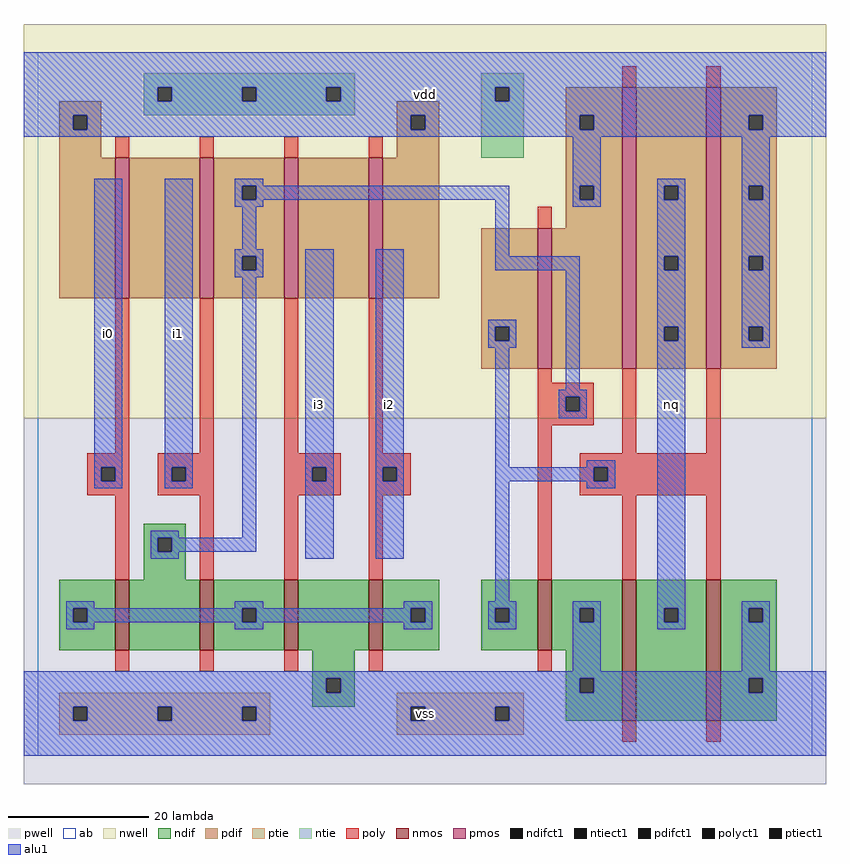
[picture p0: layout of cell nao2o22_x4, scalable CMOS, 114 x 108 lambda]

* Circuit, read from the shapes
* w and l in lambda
.subckt nao2o22_x4 i0 i1 i2 i3 nq vdd vss
M1 n1 i0 n2 vss nfet w=10 l=2
M2 n2 i1 n1 vss nfet w=10 l=2
M3 vss i3 n2 vss nfet w=10 l=2
M4 n2 i2 vss vss nfet w=10 l=2
M5 vss n1 n3 vss nfet w=10 l=2
M6 nq n3 vss vss nfet w=20 l=2 m=2
M7 n4 i0 vdd vdd pfet w=20 l=2
M8 n1 i1 n4 vdd pfet w=20 l=2
M9 n5 i3 n1 vdd pfet w=20 l=2
M10 vdd i2 n5 vdd pfet w=20 l=2
M11 vdd n1 n3 vdd pfet w=20 l=2
M12 nq n3 vdd vdd pfet w=40 l=2 m=2
.ends

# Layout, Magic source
magic
tech scmos
<< ab >>
rect 0 0 110 100
<< nwell >>
rect -2 48 112 104
<< pwell >>
rect -2 -4 112 48
<< poly >>
rect 83 95 85 98
rect 95 95 97 98
rect 11 85 13 88
rect 23 85 25 88
rect 35 85 37 88
rect 47 85 49 88
rect 71 75 73 78
rect 11 43 13 65
rect 23 43 25 65
rect 7 41 13 43
rect 7 39 9 41
rect 11 39 13 41
rect 7 37 13 39
rect 17 41 25 43
rect 17 39 19 41
rect 21 39 25 41
rect 17 37 25 39
rect 11 25 13 37
rect 23 25 25 37
rect 35 43 37 65
rect 47 43 49 65
rect 71 53 73 55
rect 71 51 79 53
rect 71 49 75 51
rect 77 49 79 51
rect 71 47 79 49
rect 35 41 43 43
rect 35 39 39 41
rect 41 39 43 41
rect 35 37 43 39
rect 47 41 53 43
rect 47 39 49 41
rect 51 39 53 41
rect 47 37 53 39
rect 35 25 37 37
rect 47 25 49 37
rect 71 25 73 47
rect 83 43 85 55
rect 95 43 97 55
rect 77 41 97 43
rect 77 39 79 41
rect 81 39 97 41
rect 77 37 97 39
rect 83 25 85 37
rect 95 25 97 37
rect 11 12 13 15
rect 23 12 25 15
rect 35 12 37 15
rect 47 12 49 15
rect 71 12 73 15
rect 83 2 85 5
rect 95 2 97 5
<< ndif >>
rect 15 31 21 33
rect 15 29 17 31
rect 19 29 21 31
rect 15 25 21 29
rect 3 21 11 25
rect 3 19 5 21
rect 7 19 11 21
rect 3 15 11 19
rect 13 15 23 25
rect 25 21 35 25
rect 25 19 29 21
rect 31 19 35 21
rect 25 15 35 19
rect 37 15 47 25
rect 49 21 57 25
rect 49 19 53 21
rect 55 19 57 21
rect 49 15 57 19
rect 63 21 71 25
rect 63 19 65 21
rect 67 19 71 21
rect 63 15 71 19
rect 73 21 83 25
rect 73 19 77 21
rect 79 19 83 21
rect 73 15 83 19
rect 39 11 45 15
rect 39 9 41 11
rect 43 9 45 11
rect 75 11 83 15
rect 75 9 77 11
rect 79 9 83 11
rect 39 7 45 9
rect 75 5 83 9
rect 85 21 95 25
rect 85 19 89 21
rect 91 19 95 21
rect 85 5 95 19
rect 97 21 105 25
rect 97 19 101 21
rect 103 19 105 21
rect 97 11 105 19
rect 97 9 101 11
rect 103 9 105 11
rect 97 5 105 9
<< pdif >>
rect 3 91 9 93
rect 51 91 57 93
rect 3 89 5 91
rect 7 89 9 91
rect 3 85 9 89
rect 51 89 53 91
rect 55 89 57 91
rect 51 85 57 89
rect 75 91 83 95
rect 75 89 77 91
rect 79 89 83 91
rect 3 65 11 85
rect 13 65 23 85
rect 25 81 35 85
rect 25 79 29 81
rect 31 79 35 81
rect 25 71 35 79
rect 25 69 29 71
rect 31 69 35 71
rect 25 65 35 69
rect 37 65 47 85
rect 49 65 57 85
rect 75 81 83 89
rect 75 79 77 81
rect 79 79 83 81
rect 75 75 83 79
rect 63 61 71 75
rect 63 59 65 61
rect 67 59 71 61
rect 63 55 71 59
rect 73 55 83 75
rect 85 81 95 95
rect 85 79 89 81
rect 91 79 95 81
rect 85 71 95 79
rect 85 69 89 71
rect 91 69 95 71
rect 85 61 95 69
rect 85 59 89 61
rect 91 59 95 61
rect 85 55 95 59
rect 97 91 105 95
rect 97 89 101 91
rect 103 89 105 91
rect 97 81 105 89
rect 97 79 101 81
rect 103 79 105 81
rect 97 71 105 79
rect 97 69 101 71
rect 103 69 105 71
rect 97 61 105 69
rect 97 59 101 61
rect 103 59 105 61
rect 97 55 105 59
<< alu1 >>
rect -2 95 112 100
rect -2 93 17 95
rect 19 93 29 95
rect 31 93 41 95
rect 43 93 65 95
rect 67 93 112 95
rect -2 91 112 93
rect -2 89 5 91
rect 7 89 53 91
rect 55 89 77 91
rect 79 89 101 91
rect 103 89 112 91
rect -2 88 112 89
rect 8 41 12 82
rect 8 39 9 41
rect 11 39 12 41
rect 8 38 12 39
rect 18 41 22 82
rect 28 81 32 82
rect 76 81 80 88
rect 28 79 29 81
rect 31 79 67 81
rect 28 78 32 79
rect 29 72 31 78
rect 28 71 32 72
rect 28 69 29 71
rect 31 69 32 71
rect 28 68 32 69
rect 18 39 19 41
rect 21 39 22 41
rect 18 38 22 39
rect 16 31 20 32
rect 29 31 31 68
rect 16 29 17 31
rect 19 29 31 31
rect 38 41 42 72
rect 38 39 39 41
rect 41 39 42 41
rect 16 28 20 29
rect 38 28 42 39
rect 48 41 52 72
rect 65 71 67 79
rect 76 79 77 81
rect 79 79 80 81
rect 76 78 80 79
rect 88 81 92 82
rect 88 79 89 81
rect 91 79 92 81
rect 88 71 92 79
rect 65 69 77 71
rect 64 61 68 62
rect 64 59 65 61
rect 67 59 68 61
rect 64 58 68 59
rect 48 39 49 41
rect 51 39 52 41
rect 48 28 52 39
rect 65 41 67 58
rect 75 52 77 69
rect 88 69 89 71
rect 91 69 92 71
rect 88 61 92 69
rect 88 59 89 61
rect 91 59 92 61
rect 74 51 78 52
rect 74 49 75 51
rect 77 49 78 51
rect 74 48 78 49
rect 78 41 82 42
rect 65 39 79 41
rect 81 39 82 41
rect 65 22 67 39
rect 78 38 82 39
rect 4 21 8 22
rect 28 21 32 22
rect 52 21 56 22
rect 4 19 5 21
rect 7 19 29 21
rect 31 19 53 21
rect 55 19 56 21
rect 4 18 8 19
rect 28 18 32 19
rect 52 18 56 19
rect 64 21 68 22
rect 64 19 65 21
rect 67 19 68 21
rect 64 18 68 19
rect 76 21 80 22
rect 76 19 77 21
rect 79 19 80 21
rect 76 12 80 19
rect 88 21 92 59
rect 100 81 104 88
rect 100 79 101 81
rect 103 79 104 81
rect 100 71 104 79
rect 100 69 101 71
rect 103 69 104 71
rect 100 61 104 69
rect 100 59 101 61
rect 103 59 104 61
rect 100 58 104 59
rect 88 19 89 21
rect 91 19 92 21
rect 88 18 92 19
rect 100 21 104 22
rect 100 19 101 21
rect 103 19 104 21
rect 100 12 104 19
rect -2 11 112 12
rect -2 9 41 11
rect 43 9 77 11
rect 79 9 101 11
rect 103 9 112 11
rect -2 7 112 9
rect -2 5 5 7
rect 7 5 17 7
rect 19 5 29 7
rect 31 5 53 7
rect 55 5 65 7
rect 67 5 112 7
rect -2 0 112 5
<< ptie >>
rect 3 7 33 9
rect 51 7 69 9
rect 3 5 5 7
rect 7 5 17 7
rect 19 5 29 7
rect 31 5 33 7
rect 3 3 33 5
rect 51 5 53 7
rect 55 5 65 7
rect 67 5 69 7
rect 51 3 69 5
<< ntie >>
rect 15 95 45 97
rect 15 93 17 95
rect 19 93 29 95
rect 31 93 41 95
rect 43 93 45 95
rect 63 95 69 97
rect 63 93 65 95
rect 67 93 69 95
rect 15 91 45 93
rect 63 85 69 93
<< nmos >>
rect 11 15 13 25
rect 23 15 25 25
rect 35 15 37 25
rect 47 15 49 25
rect 71 15 73 25
rect 83 5 85 25
rect 95 5 97 25
<< pmos >>
rect 11 65 13 85
rect 23 65 25 85
rect 35 65 37 85
rect 47 65 49 85
rect 71 55 73 75
rect 83 55 85 95
rect 95 55 97 95
<< polyct1 >>
rect 9 39 11 41
rect 19 39 21 41
rect 75 49 77 51
rect 39 39 41 41
rect 49 39 51 41
rect 79 39 81 41
<< ndifct1 >>
rect 17 29 19 31
rect 5 19 7 21
rect 29 19 31 21
rect 53 19 55 21
rect 65 19 67 21
rect 77 19 79 21
rect 41 9 43 11
rect 77 9 79 11
rect 89 19 91 21
rect 101 19 103 21
rect 101 9 103 11
<< ntiect1 >>
rect 17 93 19 95
rect 29 93 31 95
rect 41 93 43 95
rect 65 93 67 95
<< ptiect1 >>
rect 5 5 7 7
rect 17 5 19 7
rect 29 5 31 7
rect 53 5 55 7
rect 65 5 67 7
<< pdifct1 >>
rect 5 89 7 91
rect 53 89 55 91
rect 77 89 79 91
rect 29 79 31 81
rect 29 69 31 71
rect 77 79 79 81
rect 65 59 67 61
rect 89 79 91 81
rect 89 69 91 71
rect 89 59 91 61
rect 101 89 103 91
rect 101 79 103 81
rect 101 69 103 71
rect 101 59 103 61
<< labels >>
rlabel alu1 10 60 10 60 6 i0
rlabel alu1 20 60 20 60 6 i1
rlabel alu1 55 6 55 6 6 vss
rlabel alu1 40 50 40 50 6 i3
rlabel alu1 50 50 50 50 6 i2
rlabel alu1 55 94 55 94 6 vdd
rlabel alu1 90 50 90 50 6 nq
<< end >>
